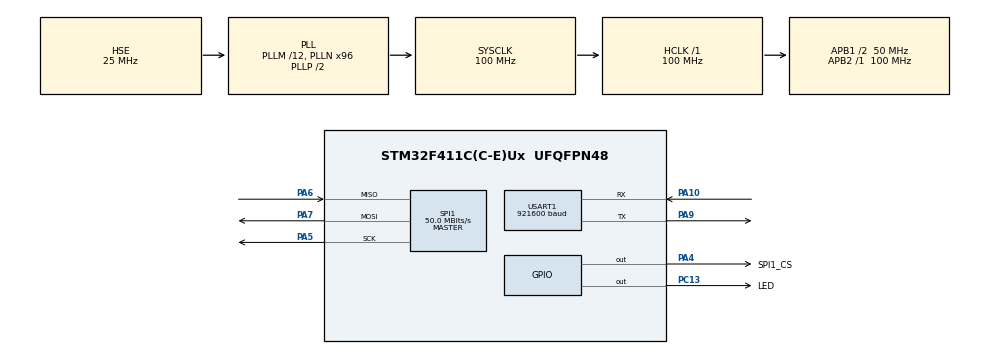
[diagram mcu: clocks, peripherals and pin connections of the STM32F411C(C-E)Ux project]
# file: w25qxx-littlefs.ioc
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Mcu.Family=STM32F4
Mcu.Name=STM32F411C(C-E)Ux
Mcu.Package=UFQFPN48
NVIC.PriorityGroup=NVIC_PRIORITYGROUP_4
PA10.Mode=Asynchronous
PA10.Signal=USART1_RX
PA13.Mode=Serial_Wire
PA13.Signal=SYS_JTMS-SWDIO
PA14.Mode=Serial_Wire
PA14.Signal=SYS_JTCK-SWCLK
PA4.GPIO_Label=SPI1_CS
PA4.GPIO_Speed=GPIO_SPEED_FREQ_MEDIUM
PA4.PinState=GPIO_PIN_SET
PA4.Signal=GPIO_Output
PA5.Mode=Full_Duplex_Master
PA5.Signal=SPI1_SCK
PA6.Mode=Full_Duplex_Master
PA6.Signal=SPI1_MISO
PA7.Mode=Full_Duplex_Master
PA7.Signal=SPI1_MOSI
PA9.Mode=Asynchronous
PA9.Signal=USART1_TX
PC13-ANTI_TAMP.GPIO_Label=LED
PC13-ANTI_TAMP.GPIO_ModeDefaultOutputPP=GPIO_MODE_OUTPUT_OD
PC13-ANTI_TAMP.GPIO_PuPd=GPIO_NOPULL
PC13-ANTI_TAMP.PinState=GPIO_PIN_SET
PC13-ANTI_TAMP.Signal=GPIO_Output
PH0\ -\ OSC_IN.Mode=HSE-External-Oscillator
PH0\ -\ OSC_IN.Signal=RCC_OSC_IN
PH1\ -\ OSC_OUT.Mode=HSE-External-Oscillator
PH1\ -\ OSC_OUT.Signal=RCC_OSC_OUT
ProjectManager.HeapSize=0x200
ProjectManager.StackSize=0x400
ProjectManager.TargetToolchain=STM32CubeIDE
RCC.48MHZClocksFreq_Value=50000000
RCC.AHBFreq_Value=100000000
RCC.APB1CLKDivider=RCC_HCLK_DIV2
RCC.APB1Freq_Value=50000000
RCC.APB1TimFreq_Value=100000000
RCC.APB2Freq_Value=100000000
RCC.APB2TimFreq_Value=100000000
RCC.CortexFreq_Value=100000000
RCC.HCLKFreq_Value=100000000
RCC.HSE_VALUE=25000000
RCC.HSI_VALUE=16000000
RCC.LSE_VALUE=32768
RCC.PLLM=12
RCC.PLLN=96
RCC.PLLSourceVirtual=RCC_PLLSOURCE_HSE
RCC.SYSCLKFreq_VALUE=100000000
RCC.SYSCLKSource=RCC_SYSCLKSOURCE_PLLCLK
RCC.VCOOutputFreq_Value=200000000
SPI1.CalculateBaudRate=50.0 MBits/s
SPI1.Direction=SPI_DIRECTION_2LINES
SPI1.Mode=SPI_MODE_MASTER
SPI1.VirtualType=VM_MASTER
USART1.BaudRate=921600
USART1.VirtualMode=VM_ASYNC
board=custom

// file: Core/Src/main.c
/* USER CODE BEGIN Header */
/**
  ******************************************************************************
  * @file           : main.c
  * @brief          : Main program body
  ******************************************************************************
  * @attention
  *
  * Copyright (c) 2022 STMicroelectronics.
  * All rights reserved.
  *
  * This software is licensed under terms that can be found in the LICENSE file
  * in the root directory of this software component.
  * If no LICENSE file comes with this software, it is provided AS-IS.
  *
  ******************************************************************************
  */
/* USER CODE END Header */
#include "main.h"

/* USER CODE BEGIN Includes */
#include "stdio.h"
#include "lfs.h"
#include "w25qxx.h"
#include "w25qxx_littlefs.h"
/* USER CODE END Includes */

 SPI_HandleTypeDef hspi1;

UART_HandleTypeDef huart1;

/* USER CODE BEGIN PV */
W25QXX_HandleTypeDef w25qxx;
lfs_file_t file;
lfs_dir_t dir;
struct lfs_info info;
/* USER CODE END PV */

void SystemClock_Config(void);
static void MX_GPIO_Init(void);
static void MX_SPI1_Init(void);
static void MX_USART1_UART_Init(void);

/* USER CODE BEGIN 0 */

// Send printf to uart1
int _write(int fd, char* ptr, int len) {
  HAL_StatusTypeDef hstatus;

  if (fd == 1 || fd == 2) {
    hstatus = HAL_UART_Transmit(&huart1, (uint8_t *) ptr, len, HAL_MAX_DELAY);
    if (hstatus == HAL_OK)
      return len;
    else
      return -1;
  }
  return -1;
}

/* USER CODE END 0 */

int main(void)
{

  /* MCU Configuration--------------------------------------------------------*/

  /* Reset of all peripherals, Initializes the Flash interface and the Systick. */
  HAL_Init();

  /* Configure the system clock */
  SystemClock_Config();

  /* Initialize all configured peripherals */
  MX_GPIO_Init();
  MX_SPI1_Init();
  MX_USART1_UART_Init();
  /* USER CODE BEGIN 2 */

  DBG("\n----------\nStarting up - peripherals has been initialised");

  DBG("Initialising w25qxx");
  if (w25qxx_init(&w25qxx, &hspi1, SPI1_CS_GPIO_Port, SPI1_CS_Pin) != W25QXX_Ok) {
	  DBG("W25Qxx init error");
	  Error_Handler();
  }

  DBG("W25QXX successfully initialized");
  DBG("Manufacturer       = 0x%2x", w25qxx.manufacturer_id);
  DBG("Device             = 0x%4x", w25qxx.device_id);
  DBG("Block size         = 0x%04lx (%lu)", w25qxx.block_size, w25qxx.block_size);
  DBG("Block count        = 0x%04lx (%lu)", w25qxx.block_count, w25qxx.block_count);
  DBG("Sector size        = 0x%04lx (%lu)", w25qxx.sector_size, w25qxx.sector_size);
  DBG("Sectors per block  = 0x%04lx (%lu)", w25qxx.sectors_in_block, w25qxx.sectors_in_block);
  DBG("Page size          = 0x%04lx (%lu)", w25qxx.page_size, w25qxx.page_size);
  DBG("Pages per sector   = 0x%04lx (%lu)", w25qxx.pages_in_sector, w25qxx.pages_in_sector);
  DBG("Total size (in kB) = 0x%04lx (%lu)", (w25qxx.block_count * w25qxx.block_size) / 1024, (w25qxx.block_count * w25qxx.block_size) / 1024);

  w25qxx_littlefs_init(&w25qxx);

  // read current count
  uint32_t boot_count = 0;

  lfs_file_open(&littlefs, &file, "boot_count", LFS_O_RDWR | LFS_O_CREAT);
  lfs_file_read(&littlefs, &file, &boot_count, sizeof(boot_count));

  // update boot count
  boot_count += 1;
  lfs_file_rewind(&littlefs, &file);
  lfs_file_write(&littlefs, &file, &boot_count, sizeof(boot_count));

  // remember the storage is not updated until the file is closed successfully
  lfs_file_close(&littlefs, &file);

  uint32_t start_uptime = 0;

  lfs_file_open(&littlefs, &file, "uptime", LFS_O_RDWR | LFS_O_CREAT);
  lfs_file_read(&littlefs, &file, &start_uptime, sizeof(start_uptime));
  lfs_file_close(&littlefs, &file);

  DBG("Boot count = %lu start uptime = %lu", boot_count, start_uptime);

  DBG("Creating one large file");

  uint8_t buf[0x1000];
  for (int i = 0; i < sizeof(buf); ++i) buf[i] = (uint8_t)random();

  lfs_remove(&littlefs, "random.dat");
  lfs_file_open(&littlefs, &file, "random.dat", LFS_O_RDWR | LFS_O_CREAT | LFS_O_TRUNC);
  for (int b = 0; b < 0x800; ++b) {
	  lfs_file_write(&littlefs, &file, &buf, sizeof(buf));
	  //DBG("Written %d bytes", sizeof(buf));
  }
  lfs_file_close(&littlefs, &file);

  /* USER CODE END 2 */

  /* Infinite loop */
  /* USER CODE BEGIN WHILE */

  uint32_t last_blink = 0, last_update = 0, last_status = 0, now = 0;

  while (1)
  {

	  now = HAL_GetTick();

	  if (now - last_blink >= 500) {
		  HAL_GPIO_TogglePin(LED_GPIO_Port, LED_Pin);
		  last_blink = now;
	  }

	  if (now - last_update >= 1000) {

		  uint32_t total_uptime = start_uptime + now;

		  DBG("Total uptime = %lu", total_uptime);

		  //timer_start();
		  uint32_t start = HAL_GetTick();
		  lfs_file_open(&littlefs, &file, "uptime", LFS_O_RDWR);
		  lfs_file_rewind(&littlefs, &file);
		  lfs_file_write(&littlefs, &file, &total_uptime, sizeof(total_uptime));
		  lfs_file_close(&littlefs, &file);
		  DBG("File update took %lu ms", HAL_GetTick() - start);

		  last_update = now;
	  }

	  if (now - last_status >= 10000) {

		  lfs_dir_open(&littlefs, &dir, "/");

		  lfs_dir_read(&littlefs, &dir, &info);

		  while (true) {
			  int res = lfs_dir_read(&littlefs, &dir, &info);
			  if (res < 0) {
				  return res;
			  }

			  if (res == 0) {
				  break;
			  }

			  switch (info.type) {
				  case LFS_TYPE_REG: printf("reg "); break;
				  case LFS_TYPE_DIR: printf("dir "); break;
				  default:           printf("?   "); break;
			  }

			  static const char *prefixes[] = {"", "K", "M", "G"};
			  for (int i = sizeof(prefixes)/sizeof(prefixes[0])-1; i >= 0; i--) {
				  if (info.size >= (1 << 10*i)-1) {
					  printf("%*lu%sB ", 4-(i != 0), info.size >> 10*i, prefixes[i]);
					  break;
				  }
			  }

			  printf("%s\n", info.name);
		  }

		  lfs_dir_close(&littlefs, &dir);

		  last_status = now;
	  }

    /* USER CODE END WHILE */

  }
}

void SystemClock_Config(void)
{
  RCC_OscInitTypeDef RCC_OscInitStruct = {0};
  RCC_ClkInitTypeDef RCC_ClkInitStruct = {0};

  /** Configure the main internal regulator output voltage
  */
  __HAL_RCC_PWR_CLK_ENABLE();
  __HAL_PWR_VOLTAGESCALING_CONFIG(PWR_REGULATOR_VOLTAGE_SCALE1);

  /** Initializes the RCC Oscillators according to the specified parameters
  * in the RCC_OscInitTypeDef structure.
  */
  RCC_OscInitStruct.OscillatorType = RCC_OSCILLATORTYPE_HSE;
  RCC_OscInitStruct.HSEState = RCC_HSE_ON;
  RCC_OscInitStruct.PLL.PLLState = RCC_PLL_ON;
  RCC_OscInitStruct.PLL.PLLSource = RCC_PLLSOURCE_HSE;
  RCC_OscInitStruct.PLL.PLLM = 12;
  RCC_OscInitStruct.PLL.PLLN = 96;
  RCC_OscInitStruct.PLL.PLLP = RCC_PLLP_DIV2;
  RCC_OscInitStruct.PLL.PLLQ = 4;
  if (HAL_RCC_OscConfig(&RCC_OscInitStruct) != HAL_OK)
  {
    Error_Handler();
  }

  /** Initializes the CPU, AHB and APB buses clocks
  */
  RCC_ClkInitStruct.ClockType = RCC_CLOCKTYPE_HCLK|RCC_CLOCKTYPE_SYSCLK
                              |RCC_CLOCKTYPE_PCLK1|RCC_CLOCKTYPE_PCLK2;
  RCC_ClkInitStruct.SYSCLKSource = RCC_SYSCLKSOURCE_PLLCLK;
  RCC_ClkInitStruct.AHBCLKDivider = RCC_SYSCLK_DIV1;
  RCC_ClkInitStruct.APB1CLKDivider = RCC_HCLK_DIV2;
  RCC_ClkInitStruct.APB2CLKDivider = RCC_HCLK_DIV1;

  if (HAL_RCC_ClockConfig(&RCC_ClkInitStruct, FLASH_LATENCY_3) != HAL_OK)
  {
    Error_Handler();
  }
}

static void MX_SPI1_Init(void)
{

  /* SPI1 parameter configuration*/
  hspi1.Instance = SPI1;
  hspi1.Init.Mode = SPI_MODE_MASTER;
  hspi1.Init.Direction = SPI_DIRECTION_2LINES;
  hspi1.Init.DataSize = SPI_DATASIZE_8BIT;
  hspi1.Init.CLKPolarity = SPI_POLARITY_LOW;
  hspi1.Init.CLKPhase = SPI_PHASE_1EDGE;
  hspi1.Init.NSS = SPI_NSS_SOFT;
  hspi1.Init.BaudRatePrescaler = SPI_BAUDRATEPRESCALER_2;
  hspi1.Init.FirstBit = SPI_FIRSTBIT_MSB;
  hspi1.Init.TIMode = SPI_TIMODE_DISABLE;
  hspi1.Init.CRCCalculation = SPI_CRCCALCULATION_DISABLE;
  hspi1.Init.CRCPolynomial = 10;
  if (HAL_SPI_Init(&hspi1) != HAL_OK)
  {
    Error_Handler();
  }

}

static void MX_USART1_UART_Init(void)
{

  huart1.Instance = USART1;
  huart1.Init.BaudRate = 921600;
  huart1.Init.WordLength = UART_WORDLENGTH_8B;
  huart1.Init.StopBits = UART_STOPBITS_1;
  huart1.Init.Parity = UART_PARITY_NONE;
  huart1.Init.Mode = UART_MODE_TX_RX;
  huart1.Init.HwFlowCtl = UART_HWCONTROL_NONE;
  huart1.Init.OverSampling = UART_OVERSAMPLING_16;
  if (HAL_UART_Init(&huart1) != HAL_OK)
  {
    Error_Handler();
  }

}

static void MX_GPIO_Init(void)
{
  GPIO_InitTypeDef GPIO_InitStruct = {0};

  /* GPIO Ports Clock Enable */
  __HAL_RCC_GPIOC_CLK_ENABLE();
  __HAL_RCC_GPIOH_CLK_ENABLE();
  __HAL_RCC_GPIOA_CLK_ENABLE();

  /*Configure GPIO pin Output Level */
  HAL_GPIO_WritePin(LED_GPIO_Port, LED_Pin, GPIO_PIN_SET);

  /*Configure GPIO pin Output Level */
  HAL_GPIO_WritePin(SPI1_CS_GPIO_Port, SPI1_CS_Pin, GPIO_PIN_SET);

  /*Configure GPIO pin : LED_Pin */
  GPIO_InitStruct.Pin = LED_Pin;
  GPIO_InitStruct.Mode = GPIO_MODE_OUTPUT_OD;
  GPIO_InitStruct.Pull = GPIO_NOPULL;
  GPIO_InitStruct.Speed = GPIO_SPEED_FREQ_LOW;
  HAL_GPIO_Init(LED_GPIO_Port, &GPIO_InitStruct);

  /*Configure GPIO pin : SPI1_CS_Pin */
  GPIO_InitStruct.Pin = SPI1_CS_Pin;
  GPIO_InitStruct.Mode = GPIO_MODE_OUTPUT_PP;
  GPIO_InitStruct.Pull = GPIO_NOPULL;
  GPIO_InitStruct.Speed = GPIO_SPEED_FREQ_MEDIUM;
  HAL_GPIO_Init(SPI1_CS_GPIO_Port, &GPIO_InitStruct);

}

void Error_Handler(void)
{
  __disable_irq();
  while (1)
  {
  }
}
